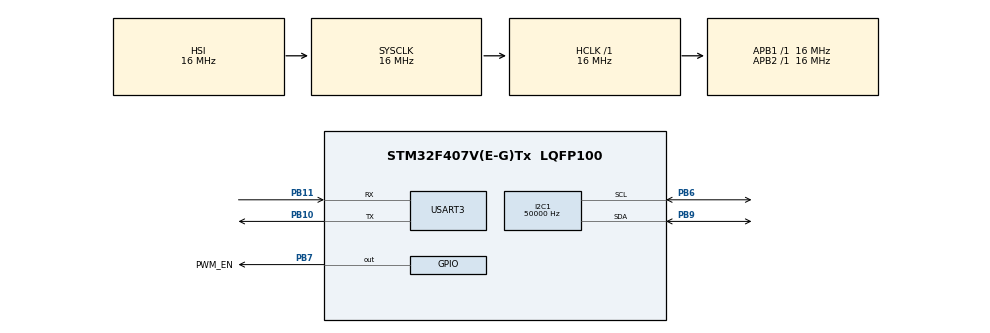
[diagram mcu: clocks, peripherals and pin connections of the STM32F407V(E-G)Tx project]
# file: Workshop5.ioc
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I2C1.ClockSpeed=50000
Mcu.Family=STM32F4
Mcu.Name=STM32F407V(E-G)Tx
Mcu.Package=LQFP100
NVIC.PriorityGroup=NVIC_PRIORITYGROUP_4
NVIC.USART3_IRQn=true\:0\:0\:false\:false\:true\:true\:true\:true
PB10.Mode=Asynchronous
PB10.Signal=USART3_TX
PB11.Mode=Asynchronous
PB11.Signal=USART3_RX
PB6.Mode=I2C
PB6.Signal=I2C1_SCL
PB7.GPIO_Label=PWM_EN
PB7.PinState=GPIO_PIN_SET
PB7.Signal=GPIO_Output
PB9.Mode=I2C
PB9.Signal=I2C1_SDA
ProjectManager.HeapSize=0x200
ProjectManager.StackSize=0x400
ProjectManager.TargetToolchain=STM32CubeIDE
RCC.AHBFreq_Value=16000000
RCC.APB1Freq_Value=16000000
RCC.APB2Freq_Value=16000000
RCC.CortexFreq_Value=16000000
RCC.HSE_VALUE=25000000
RCC.HSI_VALUE=16000000
RCC.LSE_VALUE=32768
RCC.SYSCLKFreq_VALUE=16000000
RCC.VCOOutputFreq_Value=192000000
USART3.VirtualMode=VM_ASYNC
board=custom

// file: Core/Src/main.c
/* USER CODE BEGIN Header */
/**
  ******************************************************************************
  * @file           : main.c
  * @brief          : Main program body
  ******************************************************************************
  * @attention
  *
  * Copyright (c) 2026 STMicroelectronics.
  * All rights reserved.
  *
  * This software is licensed under terms that can be found in the LICENSE file
  * in the root directory of this software component.
  * If no LICENSE file comes with this software, it is provided AS-IS.
  *
  ******************************************************************************
  */
/* USER CODE END Header */
#include "main.h"

/* USER CODE BEGIN Includes */
#include "pca9685.h"
#include <string.h>
#include <stdio.h>
/* USER CODE END Includes */

I2C_HandleTypeDef hi2c1;

UART_HandleTypeDef huart3;

/* USER CODE BEGIN PV */
uint8_t rx_byte = 0;
volatile uint8_t uart_cmd_ready = 0;
volatile uint8_t uart_cmd = 0;
uint8_t pwm_freq_state = 0;
/* USER CODE END PV */

void SystemClock_Config(void);
static void MX_GPIO_Init(void);
static void MX_I2C1_Init(void);
static void MX_USART3_UART_Init(void);

/* USER CODE BEGIN 0 */
static void UART_Print(const char *msg)
{
    HAL_UART_Transmit(&huart3, (uint8_t *)msg, strlen(msg), HAL_MAX_DELAY);
}

static void Print_Help(void)
{
    UART_Print("\r\nCommands:\r\n");
    UART_Print("h - help\r\n");
    UART_Print("o - enable PCA9685 outputs\r\n");
    UART_Print("x - disable PCA9685 outputs\r\n");
    UART_Print("t - test 4 channels: 25%, 50%, 75%, 100%\r\n");
    UART_Print("a - all channels off\r\n");
    UART_Print("b - all channels on\r\n");
    UART_Print("s - sleep mode\r\n");
    UART_Print("w - wakeup\r\n");
    UART_Print("d - fade demo on channel 0\r\n");
    UART_Print("f - set PWM frequency test: 50 Hz / 100 Hz / 200 Hz\r\n");
}

static void Test4_Channels(void)
{
    PCA9685_SetDuty(0, 25);
    PCA9685_SetDuty(1, 50);
    PCA9685_SetDuty(2, 75);
    PCA9685_SetDuty(3, 100);

    UART_Print("Test4: CH0=25%, CH1=50%, CH2=75%, CH3=100%\r\n");
}

static void Test_PWM_Frequency(void)
{
    if (pwm_freq_state == 0)
    {
        PCA9685_SetPWMFreq(50);
        UART_Print("PWM frequency set to 50 Hz\r\n");
        pwm_freq_state = 1;
    }
    else if (pwm_freq_state == 1)
    {
        PCA9685_SetPWMFreq(100);
        UART_Print("PWM frequency set to 100 Hz\r\n");
        pwm_freq_state = 2;
    }
    else
    {
        PCA9685_SetPWMFreq(200);
        UART_Print("PWM frequency set to 200 Hz\r\n");
        pwm_freq_state = 0;
    }
}

static void Demo_Fade_CH0(void)
{
    UART_Print("Fade demo on CH0 started\r\n");

    for (uint8_t duty = 0; duty <= 100; duty += 5)
    {
        PCA9685_SetDuty(0, duty);
        HAL_Delay(40);
    }

    for (int duty = 100; duty >= 0; duty -= 5)
    {
        PCA9685_SetDuty(0, duty);
        HAL_Delay(40);
    }

    UART_Print("Fade demo on CH0 finished\r\n");
}

static void Process_UART_Command(uint8_t cmd)
{
	if (cmd == '\r' || cmd == '\n')
	{
	    return;
	}
    switch (cmd)
    {
        case 'h':
        case 'H':
            Print_Help();
            break;

        case 'o':
        case 'O':
            PCA9685_EnableOutputs();
            UART_Print("Outputs enabled\r\n");
            break;

        case 'x':
        case 'X':
            PCA9685_DisableOutputs();
            UART_Print("Outputs disabled\r\n");
            break;

        case 't':
        case 'T':
            Test4_Channels();
            break;

        case 'f':
        case 'F':
            Test_PWM_Frequency();
            break;

        case 'a':
        case 'A':
            PCA9685_AllOff();
            UART_Print("All channels off\r\n");
            break;

        case 'b':
        case 'B':
            PCA9685_AllOn();
            UART_Print("All channels on\r\n");
            break;

        case 's':
        case 'S':
            PCA9685_Sleep();
            UART_Print("Sleep mode enabled\r\n");
            break;

        case 'w':
        case 'W':
            PCA9685_Wakeup();
            UART_Print("Wakeup done\r\n");
            break;

        case 'd':
        case 'D':
            Demo_Fade_CH0();
            break;

        default:
            UART_Print("Unknown command. Press h for help.\r\n");
            break;
    }
}
/* USER CODE END 0 */

int main(void)
{

  /* MCU Configuration--------------------------------------------------------*/

  /* Reset of all peripherals, Initializes the Flash interface and the Systick. */
  HAL_Init();

  /* Configure the system clock */
  SystemClock_Config();

  /* Initialize all configured peripherals */
  MX_GPIO_Init();
  MX_I2C1_Init();
  MX_USART3_UART_Init();
  /* USER CODE BEGIN 2 */
  HAL_Delay(100);

  UART_Print("\r\nSTM32F407 PCA9685 LED Controller\r\n");

  if (PCA9685_Init(&hi2c1) != HAL_OK)
  {
      UART_Print("PCA9685 init ERROR\r\n");
      Error_Handler();
  }

  UART_Print("PCA9685 init OK\r\n");

  Print_Help();

  HAL_UART_Receive_IT(&huart3, &rx_byte, 1);
  /* USER CODE END 2 */

  /* Infinite loop */
  while (1)
  {

    /* USER CODE BEGIN 3 */
      if (uart_cmd_ready)
      {
	      uart_cmd_ready = 0;
	      Process_UART_Command(uart_cmd);
      }
  }
  /* USER CODE END 3 */
}

void SystemClock_Config(void)
{
  RCC_OscInitTypeDef RCC_OscInitStruct = {0};
  RCC_ClkInitTypeDef RCC_ClkInitStruct = {0};

  /** Configure the main internal regulator output voltage
  */
  __HAL_RCC_PWR_CLK_ENABLE();
  __HAL_PWR_VOLTAGESCALING_CONFIG(PWR_REGULATOR_VOLTAGE_SCALE1);

  /** Initializes the RCC Oscillators according to the specified parameters
  * in the RCC_OscInitTypeDef structure.
  */
  RCC_OscInitStruct.OscillatorType = RCC_OSCILLATORTYPE_HSI;
  RCC_OscInitStruct.HSIState = RCC_HSI_ON;
  RCC_OscInitStruct.HSICalibrationValue = RCC_HSICALIBRATION_DEFAULT;
  RCC_OscInitStruct.PLL.PLLState = RCC_PLL_NONE;
  if (HAL_RCC_OscConfig(&RCC_OscInitStruct) != HAL_OK)
  {
    Error_Handler();
  }

  /** Initializes the CPU, AHB and APB buses clocks
  */
  RCC_ClkInitStruct.ClockType = RCC_CLOCKTYPE_HCLK|RCC_CLOCKTYPE_SYSCLK
                              |RCC_CLOCKTYPE_PCLK1|RCC_CLOCKTYPE_PCLK2;
  RCC_ClkInitStruct.SYSCLKSource = RCC_SYSCLKSOURCE_HSI;
  RCC_ClkInitStruct.AHBCLKDivider = RCC_SYSCLK_DIV1;
  RCC_ClkInitStruct.APB1CLKDivider = RCC_HCLK_DIV1;
  RCC_ClkInitStruct.APB2CLKDivider = RCC_HCLK_DIV1;

  if (HAL_RCC_ClockConfig(&RCC_ClkInitStruct, FLASH_LATENCY_0) != HAL_OK)
  {
    Error_Handler();
  }
}

static void MX_I2C1_Init(void)
{

  hi2c1.Instance = I2C1;
  hi2c1.Init.ClockSpeed = 50000;
  hi2c1.Init.DutyCycle = I2C_DUTYCYCLE_2;
  hi2c1.Init.OwnAddress1 = 0;
  hi2c1.Init.AddressingMode = I2C_ADDRESSINGMODE_7BIT;
  hi2c1.Init.DualAddressMode = I2C_DUALADDRESS_DISABLE;
  hi2c1.Init.OwnAddress2 = 0;
  hi2c1.Init.GeneralCallMode = I2C_GENERALCALL_DISABLE;
  hi2c1.Init.NoStretchMode = I2C_NOSTRETCH_DISABLE;
  if (HAL_I2C_Init(&hi2c1) != HAL_OK)
  {
    Error_Handler();
  }

}

static void MX_USART3_UART_Init(void)
{

  huart3.Instance = USART3;
  huart3.Init.BaudRate = 115200;
  huart3.Init.WordLength = UART_WORDLENGTH_8B;
  huart3.Init.StopBits = UART_STOPBITS_1;
  huart3.Init.Parity = UART_PARITY_NONE;
  huart3.Init.Mode = UART_MODE_TX_RX;
  huart3.Init.HwFlowCtl = UART_HWCONTROL_NONE;
  huart3.Init.OverSampling = UART_OVERSAMPLING_16;
  if (HAL_UART_Init(&huart3) != HAL_OK)
  {
    Error_Handler();
  }

}

static void MX_GPIO_Init(void)
{
  GPIO_InitTypeDef GPIO_InitStruct = {0};

  /* GPIO Ports Clock Enable */
  __HAL_RCC_GPIOB_CLK_ENABLE();

  /*Configure GPIO pin Output Level */
  HAL_GPIO_WritePin(PWM_EN_GPIO_Port, PWM_EN_Pin, GPIO_PIN_SET);

  /*Configure GPIO pin : PWM_EN_Pin */
  GPIO_InitStruct.Pin = PWM_EN_Pin;
  GPIO_InitStruct.Mode = GPIO_MODE_OUTPUT_PP;
  GPIO_InitStruct.Pull = GPIO_NOPULL;
  GPIO_InitStruct.Speed = GPIO_SPEED_FREQ_LOW;
  HAL_GPIO_Init(PWM_EN_GPIO_Port, &GPIO_InitStruct);

}

/* USER CODE BEGIN 4 */

void HAL_UART_RxCpltCallback(UART_HandleTypeDef *huart)
{
    if (huart->Instance == USART3)
    {
        uart_cmd = rx_byte;
        uart_cmd_ready = 1;

        HAL_UART_Receive_IT(&huart3, &rx_byte, 1);
    }
}
/* USER CODE END 4 */

void Error_Handler(void)
{
  __disable_irq();
  while (1)
  {
  }
}
